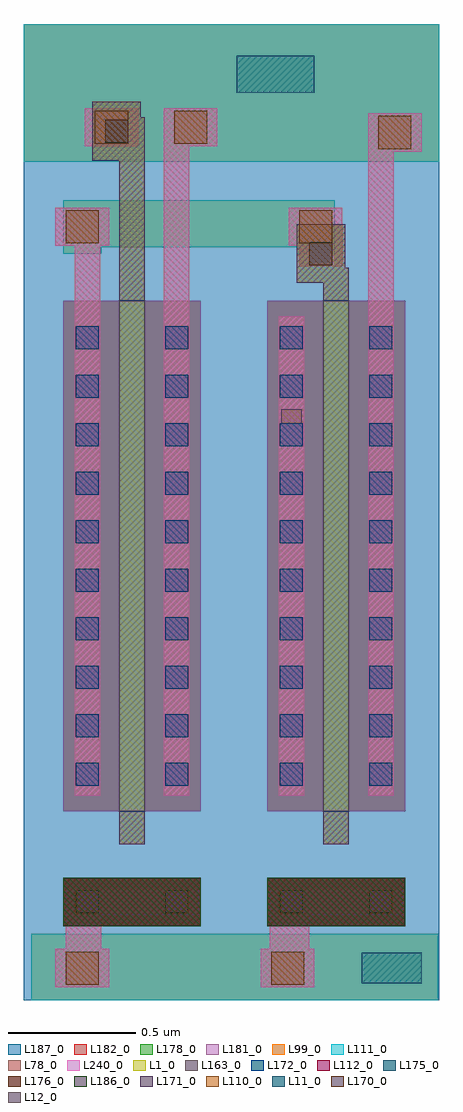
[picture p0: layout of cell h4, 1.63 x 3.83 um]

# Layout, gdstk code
import gdstk
lib = gdstk.Library(unit=1e-6, precision=1e-09)
def R(c, l, rs):  # rectangles x0, y0, x1, y1
    for r in rs: c.add(gdstk.rectangle(r[:2], r[2:], *l))
def A(c, l, x, y, w, h, nx, ny, dx, dy):  # array of equal rectangles
    R(c, l, [(x+i*dx, y+j*dy, x+i*dx+w, y+j*dy+h) for i in range(nx) for j in range(ny)])
def P(c, l, *ps):  # polygons
    for p in ps: c.add(gdstk.Polygon(p, *l))
L1_0 = (1, 0)
L11_0 = (11, 0)
L12_0 = (12, 0)
L78_0 = (78, 0)
L99_0 = (99, 0)
L110_0 = (110, 0)
L111_0 = (111, 0)
L112_0 = (112, 0)
L163_0 = (163, 0)
L170_0 = (170, 0)
L171_0 = (171, 0)
L172_0 = (172, 0)
L175_0 = (175, 0)
L176_0 = (176, 0)
L178_0 = (178, 0)
L181_0 = (181, 0)
L182_0 = (182, 0)
L186_0 = (186, 0)
L187_0 = (187, 0)
L240_0 = (240, 0)

n_3t = lib.new_cell('n_3t')
R(n_3t, L1_0, [(0,-0.13,0.1,2.13)])
R(n_3t, L78_0, [(-0.21,-0.405,0.31,-0.305), (-0.175,0.06,-0.075,1.94), (0.175,0.06,0.275,1.94)])
R(n_3t, L112_0, [(-0.22,-0.45,0.32,-0.26)])
R(n_3t, L163_0, [(0,0,0.1,2)])
R(n_3t, L171_0, [(0,-0.13,0.1,0), (0,2,0.1,2.13)])
A(n_3t, L172_0, -0.17, 0.1, 0.09, 0.09, 1, 10, 0, 0.19)
A(n_3t, L172_0, 0.18, 0.1, 0.09, 0.09, 1, 10, 0, 0.19)
R(n_3t, L172_0, [(-0.17,-0.4,-0.08,-0.31), (0.18,-0.4,0.27,-0.31)])
R(n_3t, L175_0, [(-0.22,-0.45,0.32,-0.26)])
R(n_3t, L176_0, [(-0.22,-0.45,0.32,-0.26)])
R(n_3t, L178_0, [(-0.22,0,0,2), (0.1,0,0.32,2)])
R(n_3t, L181_0, [(-0.22,0,0,2), (0.1,0,0.32,2)])
R(n_3t, L182_0, [(-0.22,-0.45,0.32,-0.26), (-0.22,0,0,2), (0.1,0,0.32,2)])
R(n_3t, L186_0, [(-0.22,-0.45,0.32,-0.26)])
R(n_3t, L187_0, [(-0.35,-0.47,0.45,2.13)])
R(n_3t, L240_0, [(-0.21,-0.405,0.31,-0.305), (-0.175,0.06,-0.075,1.94), (0.175,0.06,0.275,1.94)])

c_h4 = lib.new_cell('h4')
R(c_h4, L1_0, [(-0.55,1.315,-0.36,1.545)])
P(c_h4, L1_0, [(-1.16,2.025),(-1.16,1.965),(-1.145,1.965),(-1.145,1.27),(-1.245,1.27),(-1.245,1.795),(-1.35,1.795),(-1.35,2.025)])
R(c_h4, L11_0, [(-0.295,-1.43,-0.06,-1.31), (-0.785,2.06,-0.48,2.205)])
R(c_h4, L12_0, [(-0.61,0.765,-0.53,0.82)])
R(c_h4, L78_0, [(-1.38,1.85,-1.17,2)])
P(c_h4, L78_0, [(-0.06,1.98),(-0.06,1.83),(-0.17,1.83),(-0.17,1.1),(-0.27,1.1),(-0.27,1.98)],
  [(-0.5,-1.06),(-0.5,-1.295),(-0.48,-1.295),(-0.48,-1.445),(-0.69,-1.445),(-0.69,-1.295),(-0.655,-1.295),(-0.655,-1.06)],
  [(-1.285,1.61),(-1.285,1.46),(-1.32,1.46),(-1.32,1.09),(-1.42,1.09),(-1.42,1.46),(-1.495,1.46),(-1.495,1.61)],
  [(-0.86,2),(-0.86,1.85),(-0.97,1.85),(-0.97,1.105),(-1.07,1.105),(-1.07,2)],
  [(-1.315,-1.06),(-1.315,-1.295),(-1.285,-1.295),(-1.285,-1.445),(-1.495,-1.445),(-1.495,-1.295),(-1.455,-1.295),(-1.455,-1.06)],
  [(-0.37,1.61),(-0.37,1.38),(-0.54,1.38),(-0.54,1.46),(-0.58,1.46),(-0.58,1.61)])
R(c_h4, L99_0, [(-1.59,-1.495,0.005,-1.235), (-1.62,1.79,0.01,2.33)])
P(c_h4, L99_0, [(-0.4,1.64),(-0.4,1.43),(-0.55,1.43),(-0.55,1.455),(-1.315,1.455),(-1.315,1.43),(-1.465,1.43),(-1.465,1.64)])
R(c_h4, L110_0, [(-1.455,-1.435,-1.325,-1.305), (-0.65,-1.435,-0.52,-1.305), (-1.455,1.47,-1.325,1.6), (-0.54,1.47,-0.41,1.6), (-0.23,1.84,-0.1,1.97), (-1.34,1.86,-1.21,1.99), (-1.03,1.86,-0.9,1.99)])
R(c_h4, L111_0, [(-1.59,-1.495,0.005,-1.235), (-1.62,1.79,0.01,2.33)])
P(c_h4, L111_0, [(-0.4,1.64),(-0.4,1.43),(-0.55,1.43),(-0.55,1.455),(-1.315,1.455),(-1.315,1.43),(-1.465,1.43),(-1.465,1.64)])
R(c_h4, L170_0, [(-0.5,1.385,-0.41,1.475), (-1.3,1.865,-1.21,1.955)])
R(c_h4, L171_0, [(-0.55,1.315,-0.36,1.545)])
P(c_h4, L171_0, [(-1.16,2.025),(-1.16,1.965),(-1.145,1.965),(-1.145,1.27),(-1.245,1.27),(-1.245,1.795),(-1.35,1.795),(-1.35,2.025)])
R(c_h4, L187_0, [(-1.62,-1.495,0.01,2.33)])
R(c_h4, L240_0, [(-1.38,1.85,-1.17,2)])
P(c_h4, L240_0, [(-0.06,1.98),(-0.06,1.83),(-0.17,1.83),(-0.17,1.1),(-0.27,1.1),(-0.27,1.98)],
  [(-0.5,-1.06),(-0.5,-1.295),(-0.48,-1.295),(-0.48,-1.445),(-0.69,-1.445),(-0.69,-1.295),(-0.655,-1.295),(-0.655,-1.06)],
  [(-1.285,1.61),(-1.285,1.46),(-1.32,1.46),(-1.32,1.09),(-1.42,1.09),(-1.42,1.46),(-1.495,1.46),(-1.495,1.61)],
  [(-0.86,2),(-0.86,1.85),(-0.97,1.85),(-0.97,1.105),(-1.07,1.105),(-1.07,2)],
  [(-1.315,-1.06),(-1.315,-1.295),(-1.285,-1.295),(-1.285,-1.445),(-1.495,-1.445),(-1.495,-1.295),(-1.455,-1.295),(-1.455,-1.06)],
  [(-0.37,1.61),(-0.37,1.38),(-0.54,1.38),(-0.54,1.46),(-0.58,1.46),(-0.58,1.61)])
c_h4.add(gdstk.Reference(n_3t, (-0.445,-0.755)))
c_h4.add(gdstk.Reference(n_3t, (-1.245,-0.755)))

lib.write_gds('h4.gds')
